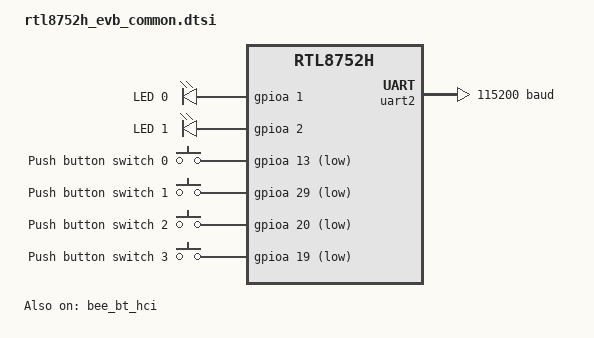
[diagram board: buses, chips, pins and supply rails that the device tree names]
/*
 * Copyright (c) 2026, Realtek Semiconductor Corporation.
 *
 * SPDX-License-Identifier: Apache-2.0
 */

#include "rtl8752h_evb-pinctrl.dtsi"
#include <zephyr/dt-bindings/gpio/realtek-bee-gpio.h>
#include <zephyr/dt-bindings/input/input-event-codes.h>

/ {
	chosen {
		zephyr,code-partition = &app_partition;
		zephyr,console = &uart2;
		zephyr,shell-uart = &uart2;
		zephyr,bt-hci = &bee_bt_hci;
	};

	leds {
		compatible = "gpio-leds";

		led0: led_0 {
			gpios = <&gpioa 1 GPIO_ACTIVE_HIGH>;
			label = "LED 0";
		};

		led1: led_1 {
			gpios = <&gpioa 2 GPIO_ACTIVE_HIGH>;
			label = "LED 1";
		};
	};

	buttons {
		compatible = "gpio-keys";

		button0: button_0 {
			label = "Push button switch 0";
			gpios = <&gpioa 13 (GPIO_PULL_UP | GPIO_ACTIVE_LOW)>;
			zephyr,code = <INPUT_KEY_0>;
		};

		button1: button_1 {
			label = "Push button switch 1";
			gpios = <&gpioa 29 (GPIO_PULL_UP | GPIO_ACTIVE_LOW)>;
			zephyr,code = <INPUT_KEY_1>;
		};

		button2: button_2 {
			label = "Push button switch 2";
			gpios = <&gpioa 20 (GPIO_PULL_UP | GPIO_ACTIVE_LOW)>;
			zephyr,code = <INPUT_KEY_2>;
		};

		button3: button_3 {
			label = "Push button switch 3";
			gpios = <&gpioa 19 (GPIO_PULL_UP | GPIO_ACTIVE_LOW)>;
			zephyr,code = <INPUT_KEY_3>;
		};
	};

	aliases {
		led0 = &led0;
		led1 = &led1;
		sw0 = &button0;
	};
};

&gpioa {
	pinctrl-0 = <&gpioa_default>;
	pinctrl-names = "default";
	status = "okay";
};

&uart2 {
	pinctrl-0 = <&uart2_default>;
	pinctrl-names = "default";
	status = "okay";
	current-speed = <115200>;
	parity = "none";
	stop-bits = "1";
	data-bits = <8>;
};

&bee_bt_hci {
	status = "okay";
};
